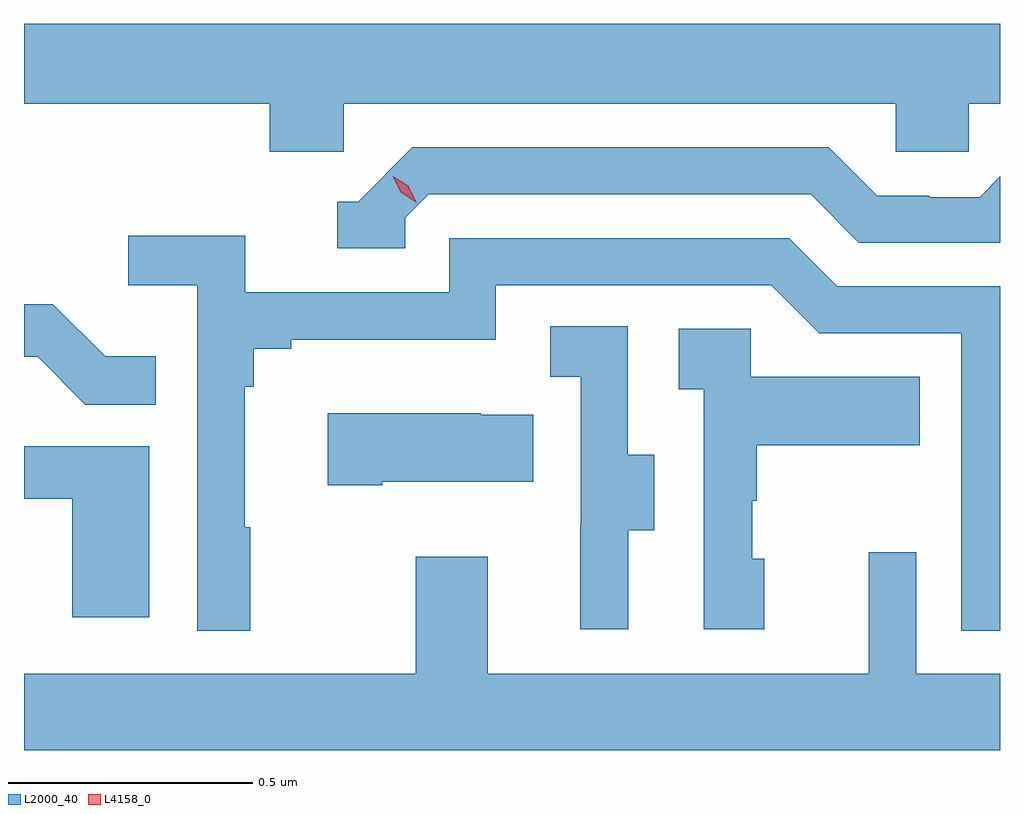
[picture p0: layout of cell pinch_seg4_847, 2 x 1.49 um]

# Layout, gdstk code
import gdstk
lib = gdstk.Library(unit=1e-6, precision=1e-09)
def P(c, l, *ps):  # polygons
    for p in ps: c.add(gdstk.Polygon(p, *l))
L2000_40 = (2000, 40)
L4158_0 = (4158, 0)

pinch_seg4_847 = lib.new_cell('pinch_seg4_847')
P(pinch_seg4_847, L2000_40, [(850.781,810.14),(851.285,810.14),(851.285,810.042),(851.436,810.042),(851.436,810.14),(852.567,810.14),(852.567,810.042),(852.717,810.042),(852.717,810.14),(852.781,810.14),(852.781,810.304),(850.781,810.304)],
  [(851.562,809.907),(851.61,809.955),(852.393,809.955),(852.492,809.856),(852.781,809.856),(852.781,809.992),(852.739,809.949),(852.636,809.949),(852.636,809.952),(852.529,809.952),(852.43,810.051),(851.577,810.051),(851.466,809.94),(851.423,809.94),(851.423,809.844),(851.562,809.844)],
  [(851.245,809.273),(851.233,809.273),(851.233,809.561),(851.252,809.561),(851.252,809.638),(851.329,809.638),(851.329,809.657),(851.748,809.657),(851.748,809.769),(852.312,809.769),(852.411,809.67),(852.702,809.67),(852.702,809.061),(852.781,809.061),(852.781,809.766),(852.448,809.766),(852.349,809.865),(851.652,809.865),(851.652,809.754),(851.234,809.754),(851.234,809.87),(850.995,809.87),(850.995,809.768),(851.136,809.768),(851.136,809.061),(851.245,809.061)],
  [(851.051,809.623),(850.947,809.623),(850.84,809.73),(850.781,809.73),(850.781,809.622),(850.809,809.622),(850.907,809.524),(851.051,809.524)],
  [(852.019,809.266),(852.073,809.266),(852.073,809.421),(852.018,809.421),(852.018,809.684),(851.859,809.684),(851.859,809.581),(851.922,809.581),(851.922,809.277),(851.921,809.277),(851.921,809.064),(852.019,809.064)],
  [(852.298,809.208),(852.273,809.208),(852.273,809.327),(852.283,809.327),(852.283,809.441),(852.617,809.441),(852.617,809.581),(852.27,809.581),(852.27,809.679),(852.123,809.679),(852.123,809.555),(852.174,809.555),(852.174,809.064),(852.298,809.064)],
  [(851.515,809.366),(851.825,809.366),(851.825,809.503),(851.717,809.503),(851.717,809.506),(851.403,809.506),(851.403,809.359),(851.515,809.359)],
  [(851.038,809.439),(850.781,809.439),(850.781,809.331),(850.88,809.331),(850.88,809.088),(851.038,809.088)],
  [(852.781,808.972),(852.609,808.972),(852.609,809.221),(852.512,809.221),(852.512,808.972),(851.731,808.972),(851.731,809.212),(851.584,809.212),(851.584,808.972),(850.781,808.972),(850.781,808.816),(852.781,808.816)])
P(pinch_seg4_847, L4158_0, [(851.584,809.939),(851.553,809.959),(851.537,809.992),(851.537,809.992),(851.537,809.992),(851.568,809.972),(851.585,809.94),(851.585,809.939)])

lib.write_gds('pinch_seg4_847.gds')
